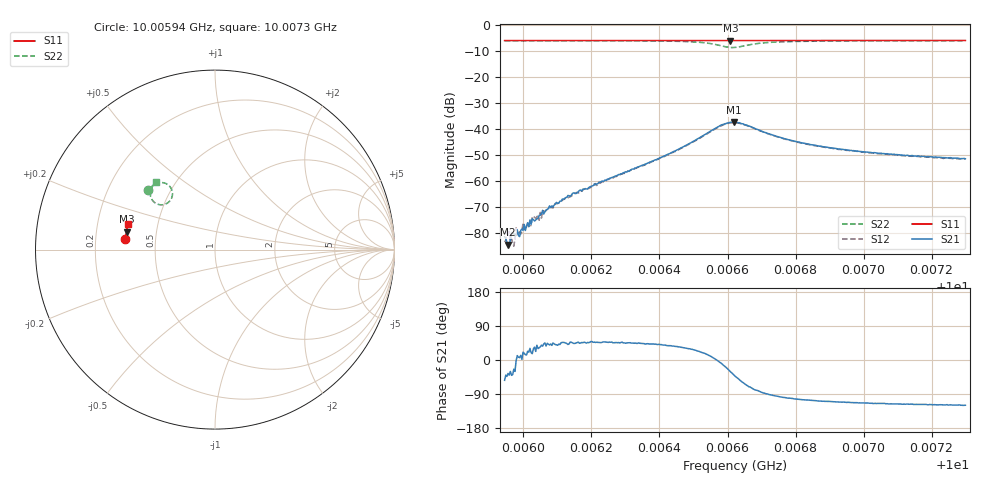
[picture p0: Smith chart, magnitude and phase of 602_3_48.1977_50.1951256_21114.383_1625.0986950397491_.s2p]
#  HZ  S  RI  R  50.00
! Rohde & Schwarz Vector Network Analyzer
! Rohde-Schwarz,ZNB20-2Port,1311601062101988,3.16
! Created: UTC 3/20/2024, 12:03:03 PM
! freq[Hz]  re:S11  im:S11  re:S21  im:S21  re:S12  im:S12  re:S22  im:S22
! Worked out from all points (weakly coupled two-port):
!   401 points, 10.00594 GHz to 10.0073 GHz, reference 50 ohm
!   highest |S21| = -37.30 dB at 10.00662 GHz (marker M1); lowest = -84.3 dB at 10.00595 GHz (marker M2)
!   lowest |S11| = -6.0 dB at 10.00661 GHz (marker M3), VSWR 3.02, Z = 16.7 + j4.45 ohm
!   |S11| at or under -10 dB: nowhere
!   |S22| runs from -8.6 to -6.0 dB; largest |S21 - S12| = 0.00099
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1.0005945e10  -0.4992 0.0573  5.09e-05 -6.9e-05  3.75e-05 -5.68e-05  -0.371 0.3326
1.0005955e10  -0.4992 0.058  4.95e-05 -3.53e-05  6.36e-05 -6.12e-05  -0.3703 0.3334
1.0005989e10  -0.4989 0.0601  8.59e-05 9.39e-06  9.48e-05 6.48e-05  -0.3684 0.3355
1.0006006e10  -0.4988 0.0613  0.00011 2.79e-05  0.000122 3.08e-05  -0.3674 0.3366
1.0006016e10  -0.4988 0.062  0.000125 4.73e-05  0.000123 5.75e-05  -0.3669 0.3374
1.0006033e10  -0.4987 0.0629  0.000143 9.63e-05  0.000163 0.00012  -0.3657 0.3384
1.0006046e10  -0.4985 0.0639  0.000187 0.000118  0.000129 0.000123  -0.3649 0.3393
1.0006063e10  -0.4984 0.0651  0.000184 0.000184  0.00019 0.000181  -0.3638 0.3404
1.0006077e10  -0.4984 0.0659  0.00026 0.000216  0.000214 0.000234  -0.3629 0.3414
1.0006127e10  -0.498 0.0693  0.000356 0.000338  0.00031 0.00034  -0.3598 0.345
1.0006172e10  -0.4976 0.0721  0.000451 0.000468  0.000428 0.000478  -0.3565 0.3481
1.0006398e10  -0.4958 0.087  0.00206 0.00182  0.00195 0.00185  -0.3284 0.3678
1.0006537e10  -0.4938 0.096  0.00788 0.00222  0.00757 0.00252  -0.2674 0.3649
1.0006581e10  -0.4928 0.0985  0.0119 -0.0018  0.0116 -0.00115  -0.2375 0.3211
1.0006608e10  -0.4923 0.0996  0.0116 -0.0069  0.0118 -0.00611  -0.2483 0.2751
1.0006619e10  -0.4923 0.1002  0.0106 -0.00862  0.0108 -0.00774  -0.2618 0.2616
1.0006622e10  -0.4922 0.1003  0.01 -0.00908  0.0105 -0.00822  -0.267 0.258
1.0006697e10  -0.4924 0.1048  0.000948 -0.00939  0.0015 -0.00906  -0.3511 0.2785
1.0006771e10  -0.4919 0.1098  -0.00106 -0.00641  -0.000755 -0.00635  -0.3608 0.3145
1.0006849e10  -0.4907 0.115  -0.00143 -0.0048  -0.00121 -0.00479  -0.3571 0.3342
1.0007076e10  -0.4878 0.1293  -0.00144 -0.00299  -0.00124 -0.003  -0.3421 0.3613
1.00073e10  -0.4844 0.1435  -0.00133 -0.00236  -0.0012 -0.00236  -0.3292 0.3768
